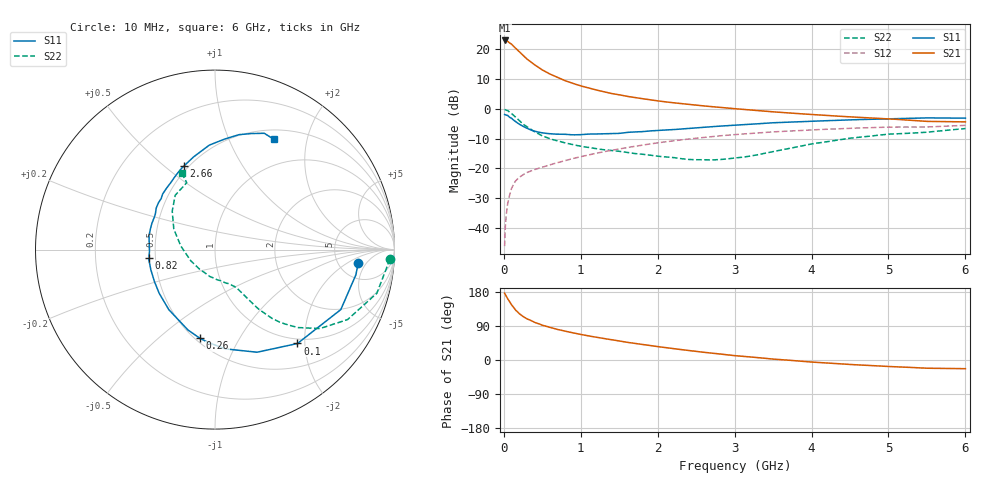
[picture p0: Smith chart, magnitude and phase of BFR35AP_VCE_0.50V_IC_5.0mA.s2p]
! Infineon Technologies  Discrete & RF Semiconductors
! BFR35AP
! VCE = 0.50 V,  IC =  5.0 mA
! Common Emitter S-Parameters:  Nov 2015
# GHz  S  MA  R  50
!  f  S11  S21  S12  S22
! GHz  MAG  ANG  MAG  ANG  MAG  ANG  MAG  ANG
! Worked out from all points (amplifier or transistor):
!   210 points, 10 MHz to 6 GHz, reference 50 ohm
!   highest |S21| = 23.0 dB at 10 MHz (marker M1)
!   |S21| within 3 dB of that: start of sweep to 168.8 MHz
!   unconditionally stable (mu >= 1): 626.7 MHz to end of sweep
!   at 185 MHz: K = 0.43, MSG = 21.5 dB, |S12| = -23.4 dB
!   at 1.52 GHz: K = 1.23, MAG = 6.1 dB, |S12| = -13.4 dB
!   at 6 GHz: K = 1.09, MAG = -1.2 dB, |S12| = -5.6 dB
!   S11 on the Smith chart (normalised r, x): 10 MHz: 7.74, -3.21; 100 MHz: 0.91, -1.85; 260 MHz: 0.53, -0.70; 820 MHz: 0.46, -0.05; 2.66 GHz: 0.47, +0.58; 6 GHz: 0.62, +1.48
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0.01  0.8018 -5.3  14.12 176.4  0.0049 86.4  0.9746 -3.1
0.025  0.79 -12.7  13.77 170.5  0.0131 82.0  0.9553 -7.6
0.05  0.7765 -25.5  13.64 161.5  0.0255 76.8  0.934 -15.1
0.1  0.6963 -48.7  12.25 145.5  0.0457 65.7  0.8355 -27.8
0.15  0.618 -67.7  10.56 132.2  0.0607 57.9  0.7322 -36.9
0.2  0.5558 -84.2  9.149 122.3  0.0705 53.1  0.6346 -43.2
0.24  0.5165 -94.8  8.122 116.3  0.0764 50.7  0.5696 -46.7
0.26  0.5009 -99.7  7.677 113.4  0.0793 49.8  0.5426 -48.2
0.3  0.4725 -108.6  6.889 108.6  0.0847 48.5  0.4987 -50.3
0.4  0.422 -127.6  5.494 99.3  0.0952 47.0  0.4116 -53.7
0.5  0.395 -141.9  4.505 91.8  0.1041 47.4  0.35 -55.7
0.6  0.3813 -152.4  3.84 85.9  0.1144 48.0  0.3127 -56.9
0.66  0.3759 -158.5  3.545 82.8  0.1205 48.1  0.2977 -57.5
0.82  0.3707 -172.7  2.9 75.1  0.1374 48.8  0.263 -59.2
1.02  0.3692 173.0  2.393 66.8  0.1588 49.3  0.2328 -62.1
1.4  0.3822 153.1  1.81 53.4  0.2006 47.9  0.1995 -70.5
2.02  0.4336 129.4  1.349 34.9  0.2701 42.9  0.1589 -92.7
2.66  0.4966 110.4  1.101 19.1  0.3363 35.4  0.1385 -131.1
3.1  0.5397 100.8  0.981 9.9  0.3766 29.3  0.1534 -162.9
4.1  0.6248 83.6  0.788 -6.6  0.448 16.1  0.2678 149.8
5.1  0.6827 71.4  0.666 -17.9  0.4924 3.2  0.3794 123.4
6  0.6968 62.1  0.603 -22.9  0.5274 -5.6  0.4656 113.5
